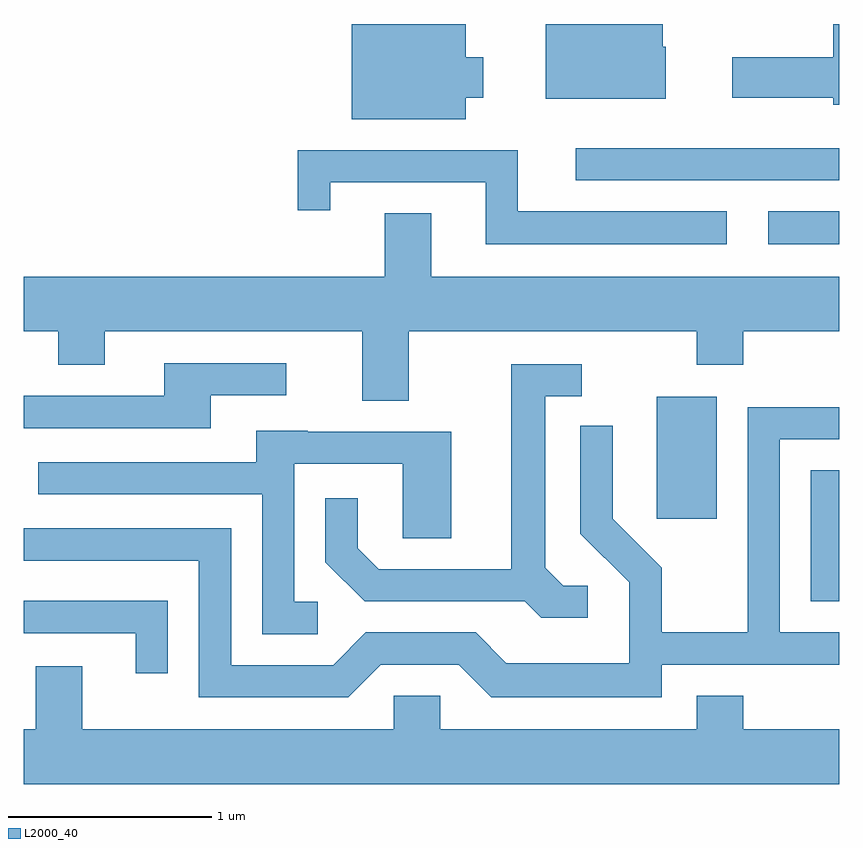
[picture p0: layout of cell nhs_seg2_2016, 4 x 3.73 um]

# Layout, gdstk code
import gdstk
lib = gdstk.Library(unit=1e-6, precision=1e-09)
def R(c, l, rs):  # rectangles x0, y0, x1, y1
    for r in rs: c.add(gdstk.rectangle(r[:2], r[2:], *l))
def P(c, l, *ps):  # polygons
    for p in ps: c.add(gdstk.Polygon(p, *l))
L2000_40 = (2000, 40)

nhs_seg2_2016 = lib.new_cell('nhs_seg2_2016')
R(nhs_seg2_2016, L2000_40, [(247.471,1066.971,247.611,1067.614), (246.716,1067.376,247.009,1067.974), (247.263,1068.721,247.611,1068.884), (246.318,1069.036,247.611,1069.194)])
P(nhs_seg2_2016, L2000_40, [(246.759,1069.69),(246.744,1069.69),(246.744,1069.802),(246.171,1069.802),(246.171,1069.436),(246.759,1069.436)],
  [(245.779,1069.441),(245.864,1069.441),(245.864,1069.639),(245.779,1069.639),(245.779,1069.802),(245.221,1069.802),(245.221,1069.336),(245.779,1069.336)],
  [(247.611,1069.802),(247.581,1069.802),(247.581,1069.639),(247.086,1069.639),(247.086,1069.441),(247.581,1069.441),(247.581,1069.406),(247.611,1069.406)],
  [(247.058,1068.884),(246.034,1068.884),(246.034,1069.184),(244.956,1069.184),(244.956,1068.888),(245.114,1068.888),(245.114,1069.026),(245.876,1069.026),(245.876,1068.721),(247.058,1068.721)],
  [(245.499,1068.296),(246.911,1068.296),(246.911,1068.131),(247.139,1068.131),(247.139,1068.296),(247.611,1068.296),(247.611,1068.564),(245.609,1068.564),(245.609,1068.874),(245.381,1068.874),(245.381,1068.564),(243.611,1068.564),(243.611,1068.296),(243.781,1068.296),(243.781,1068.131),(244.009,1068.131),(244.009,1068.296),(245.271,1068.296),(245.271,1067.956),(245.499,1067.956)],
  [(244.529,1067.981),(244.898,1067.981),(244.898,1068.139),(244.301,1068.139),(244.301,1067.979),(243.611,1067.979),(243.611,1067.821),(244.529,1067.821)],
  [(246.378,1067.049),(246.257,1067.049),(246.169,1067.137),(246.169,1067.976),(246.348,1067.976),(246.348,1068.134),(246.001,1068.134),(246.001,1067.129),(245.352,1067.129),(245.249,1067.232),(245.249,1067.478),(245.091,1067.478),(245.091,1067.164),(245.284,1066.971),(246.069,1066.971),(246.149,1066.891),(246.378,1066.891)],
  [(245.362,1066.661),(245.744,1066.661),(245.904,1066.501),(246.739,1066.501),(246.739,1066.661),(247.611,1066.661),(247.611,1066.819),(247.319,1066.819),(247.319,1067.766),(247.611,1067.766),(247.611,1067.924),(247.161,1067.924),(247.161,1066.819),(246.739,1066.819),(246.739,1067.137),(246.499,1067.377),(246.499,1067.833),(246.341,1067.833),(246.341,1067.304),(246.581,1067.064),(246.581,1066.669),(245.977,1066.669),(245.827,1066.819),(245.289,1066.819),(245.129,1066.659),(244.629,1066.659),(244.629,1067.329),(243.611,1067.329),(243.611,1067.171),(244.471,1067.171),(244.471,1066.501),(245.202,1066.501)],
  [(245.053,1066.969),(244.939,1066.969),(244.939,1067.646),(245.471,1067.646),(245.471,1067.281),(245.709,1067.281),(245.709,1067.804),(245.005,1067.804),(245.005,1067.809),(244.751,1067.809),(244.751,1067.654),(243.683,1067.654),(243.683,1067.496),(244.781,1067.496),(244.781,1066.811),(245.053,1066.811)],
  [(244.319,1066.974),(243.611,1066.974),(243.611,1066.816),(244.161,1066.816),(244.161,1066.618),(244.319,1066.618)],
  [(247.611,1066.344),(247.139,1066.344),(247.139,1066.509),(246.911,1066.509),(246.911,1066.344),(245.654,1066.344),(245.654,1066.509),(245.426,1066.509),(245.426,1066.344),(243.899,1066.344),(243.899,1066.654),(243.671,1066.654),(243.671,1066.344),(243.611,1066.344),(243.611,1066.076),(247.611,1066.076)])

lib.write_gds('nhs_seg2_2016.gds')
